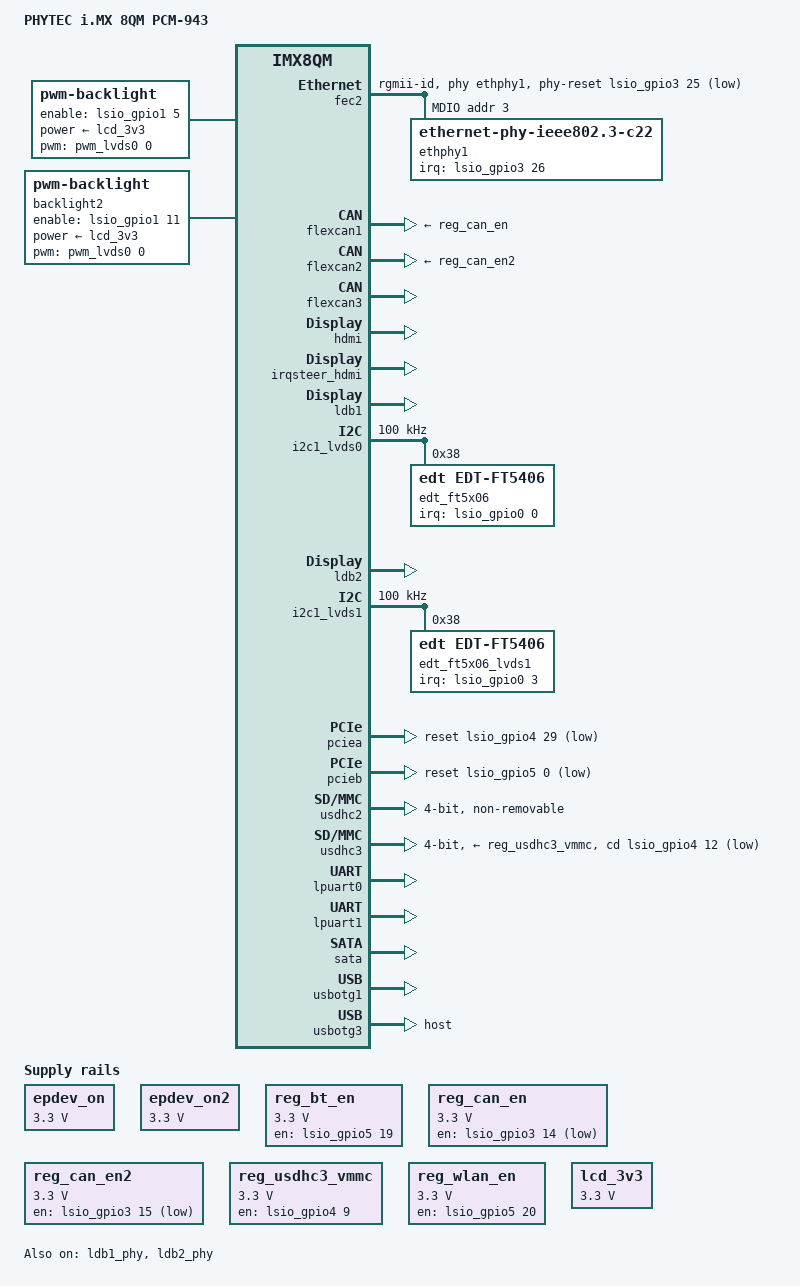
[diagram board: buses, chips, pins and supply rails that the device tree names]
// SPDX-License-Identifier: GPL-2.0
/*
 * Copyright (C) 2017 PHYTEC Messtechnik GmbH
 * Author: Christian Hemp <c.hemp@phytec.de>
 */

/ {
	model = "PHYTEC i.MX 8QM PCM-943";
	compatible = "phytec,imx8qm-pcm-943", "phytec,imx8qm-pcm064",
		     "fsl,imx8qm";

	chosen {
		bootargs = "console=ttyLP0,115200 earlycon=lpuart32,0x5a060000,115200";
		stdout-path = &lpuart0;
	};

	backlight: backlight {
		compatible = "pwm-backlight";
		pinctrl-names = "default";
		pinctrl-0 = <&pinctrl_lcd>;
		default-brightness-level = <7>;
		power-supply = <&lcd_3v3>;
		pwms = <&pwm_lvds0 0 5000000>;
		enable-gpios = <&lsio_gpio1 5 GPIO_ACTIVE_HIGH>;
		brightness-levels = <0 4 8 16 32 64 128 255>;
		status = "okay";
	};

	backlight2: backlight2 {
		compatible = "pwm-backlight";
		pinctrl-names = "default";
		pinctrl-0 = <&pinctrl_lcd2>;
		default-brightness-level = <7>;
		power-supply = <&lcd_3v3>;
		pwms = <&pwm_lvds0 0 5000000>;
		enable-gpios = <&lsio_gpio1 11 GPIO_ACTIVE_HIGH>;
		brightness-levels = <0 4 8 16 32 64 128 255>;
		status = "okay";
	};

	regulators {
		compatible = "simple-bus";
		#address-cells = <1>;
		#size-cells = <0>;

		epdev_on: fixedregulator@100 {
			compatible = "regulator-fixed";
			regulator-min-microvolt = <3300000>;
			regulator-max-microvolt = <3300000>;
			regulator-name = "epdev_on";
		};

		epdev_on2: fixedregulator@101 {
			compatible = "regulator-fixed";
			regulator-min-microvolt = <3300000>;
			regulator-max-microvolt = <3300000>;
			regulator-name = "epdev_on2";
		};

		reg_bt_en: bt_en {
			compatible = "regulator-fixed";
			regulator-name = "bt_en";
			regulator-min-microvolt = <3300000>;
			regulator-max-microvolt = <3300000>;
			gpio = <&lsio_gpio5 19 GPIO_ACTIVE_HIGH>;
			startup-delay-us = <100>;
			enable-active-high;
			regulator-always-on;
		};

		reg_can_en: regulator-can-gen {
			compatible = "regulator-fixed";
			regulator-name = "can-en";
			regulator-min-microvolt = <3300000>;
			regulator-max-microvolt = <3300000>;
			gpio = <&lsio_gpio3 14 GPIO_ACTIVE_LOW>;
		};

		reg_can_en2: regulator-can-gen2 {
			compatible = "regulator-fixed";
			regulator-name = "can-en2";
			regulator-min-microvolt = <3300000>;
			regulator-max-microvolt = <3300000>;
			gpio = <&lsio_gpio3 15 GPIO_ACTIVE_LOW>;
		};

		reg_usdhc3_vmmc: usdhc3_vmmc {
			compatible = "regulator-fixed";
			regulator-name = "sw-3p3-sd1";
			regulator-min-microvolt = <3300000>;
			regulator-max-microvolt = <3300000>;
			gpio = <&lsio_gpio4 9 GPIO_ACTIVE_HIGH>;
			enable-active-high;
		};

		reg_wlan_en: wlan_en {
			compatible = "regulator-fixed";
			regulator-name = "wlan_en";
			regulator-min-microvolt = <3300000>;
			regulator-max-microvolt = <3300000>;
			gpio = <&lsio_gpio5 20 GPIO_ACTIVE_HIGH>;
			enable-active-high;
			regulator-always-on;
		};

		lcd_3v3: lcd_vcc3v3 {
			compatible = "regulator-fixed";
			regulator-name = "lcd_3v3";
			regulator-min-microvolt = <3300000>;
			regulator-max-microvolt = <3300000>;
		};
	};
};

&fec2 {
	pinctrl-names = "default";
	pinctrl-0 = <&pinctrl_fec2>;
	phy-mode = "rgmii-id";
	phy-handle = <&ethphy1>;
	phy-reset-gpios = <&lsio_gpio3 25 GPIO_ACTIVE_LOW>;
	fsl,magic-packet;
	fsl,mii-exclusive;
	status = "okay";

	mdio@1 {
		#address-cells = <1>;
		#size-cells = <0>;

		ethphy1: ethernet-phy@3 {
			compatible = "ethernet-phy-ieee802.3-c22";
			reg = <3>;
			interrupt-parent = <&lsio_gpio3>;
			interrupts = <26 IRQ_TYPE_EDGE_FALLING>;
			ti,rx-internal-delay = <DP83867_RGMIIDCTL_2_00_NS>;
			ti,tx-internal-delay = <DP83867_RGMIIDCTL_2_00_NS>;
			ti,fifo-depth = <DP83867_PHYCR_FIFO_DEPTH_8_B_NIB>;
			enet-phy-lane-no-swap;
		};
	};
};

&flexcan1 {
	pinctrl-names = "default";
	pinctrl-0 = <&pinctrl_flexcan1>;
	xceiver-supply = <&reg_can_en>;
	status = "okay";
};

&flexcan2 {
	pinctrl-names = "default";
	pinctrl-0 = <&pinctrl_flexcan2>;
	xceiver-supply = <&reg_can_en2>;
	status = "okay";
};

&flexcan3 {
	pinctrl-names = "default";
	pinctrl-0 = <&pinctrl_flexcan3>;
	status = "okay";
};

&hdmi {
	compatible = "fsl,imx8qm-hdmi";
	fsl,cec;
	status = "okay";
};

&irqsteer_hdmi {
	status = "okay";
};

&ldb1_phy {
	status = "okay";
};

&ldb1 {
	status = "okay";

	lvds-channel@0 {
		fsl,data-mapping = "jeida";
		fsl,data-width = <24>;
		status = "okay";

		display-timings {
			native-mode = <&timing1>;
			timing1: ETM0700G0DH6 {
				clock-frequency = <33260000>;
				hactive = <800>;
				vactive = <480>;
				hback-porch = <216>;
				hfront-porch = <40>;
				hsync-len = <128>;
				vback-porch = <35>;
				vfront-porch = <10>;
				vsync-len = <2>;
			};
		};
	};
};

&i2c1_lvds0 {
	#address-cells = <1>;
	#size-cells = <0>;
	pinctrl-names = "default";
	pinctrl-0 = <&pinctrl_lvds0_lpi2c0>;
	clock-frequency = <100000>;
	status = "okay";

	edt_ft5x06: polytouch@38 {
		compatible = "edt,edt-ft5406", "edt,edt-ft5x06";
		pinctrl-names = "default";
		pinctrl-0 = <&pinctrl_edt_ft5x06>;
		reg = <0x38>;
		interrupt-parent = <&lsio_gpio0>;
		interrupts = <0 IRQ_TYPE_LEVEL_LOW>;
		status = "okay";
	};
};

&ldb2_phy {
	status = "okay";
};

&ldb2 {
	status = "okay";

	lvds-channel@0 {
		fsl,data-mapping = "jeida";
		fsl,data-width = <24>;
		status = "okay";

		display-timings {
			native-mode = <&timing0>;
			timing0: ETM0700G0DH6 {
				clock-frequency = <33260000>;
				hactive = <800>;
				vactive = <480>;
				hback-porch = <216>;
				hfront-porch = <40>;
				hsync-len = <128>;
				vback-porch = <35>;
				vfront-porch = <10>;
				vsync-len = <2>;
			};
		};
	};
};

&i2c1_lvds1 {
	#address-cells = <1>;
	#size-cells = <0>;
	pinctrl-names = "default";
	pinctrl-0 = <&pinctrl_lvds1_lpi2c0>;
	clock-frequency = <100000>;
	status = "okay";

	edt_ft5x06_lvds1: polytouch@38 {
		compatible = "edt,edt-ft5406", "edt,edt-ft5x06";
		pinctrl-names = "default";
		pinctrl-0 = <&pinctrl_edt_ft5x06_lvds1>;
		reg = <0x38>;
		interrupt-parent = <&lsio_gpio0>;
		interrupts = <3 IRQ_TYPE_LEVEL_LOW>;
		status = "okay";
	};
};

&pciea{
	ext_osc = <1>;
	pinctrl-names = "default";
	pinctrl-0 = <&pinctrl_pciea>;
	clkreq-gpio = <&lsio_gpio4 27 GPIO_ACTIVE_LOW>;
	reset-gpio = <&lsio_gpio4 29 GPIO_ACTIVE_LOW>;
	epdev_on-supply = <&epdev_on>;
	status = "okay";
};

&pcieb {
	ext_osc = <1>;
	pinctrl-names = "default";
	pinctrl-0 = <&pinctrl_pcieb>;
	clkreq-gpio = <&lsio_gpio4 30 GPIO_ACTIVE_LOW>;
	reset-gpio = <&lsio_gpio5 0 GPIO_ACTIVE_LOW>;
	epdev_on-supply = <&epdev_on2>;
	status = "okay";
};

&usdhc2 {
	pinctrl-names = "default";
	pinctrl-0 = <&pinctrl_usdhc2_wlan>, <&pinctrl_wlan>;
	bus-width = <4>;
	non-removable;
	no-1-8-v;
	status = "okay";
};

&usdhc3 {
	pinctrl-names = "default", "state_100mhz", "state_200mhz";
	pinctrl-0 = <&pinctrl_usdhc3>, <&pinctrl_usdhc3_gpio>;
	pinctrl-1 = <&pinctrl_usdhc3_100mhz>, <&pinctrl_usdhc3_gpio>;
	pinctrl-2 = <&pinctrl_usdhc3_200mhz>, <&pinctrl_usdhc3_gpio>;
	bus-width = <4>;
	cd-gpios = <&lsio_gpio4 12 GPIO_ACTIVE_LOW>;
	vmmc-supply = <&reg_usdhc3_vmmc>;
	no-1-8-v;
	status = "okay";
};

&lpuart0 { /* console */
	pinctrl-names = "default";
	pinctrl-0 = <&pinctrl_lpuart0>;
	status = "okay";
};

&lpuart1 { /* bluetooth */
	pinctrl-names = "default";
	pinctrl-0 = <&pinctrl_lpuart1_bt>;
	uart-has-rtscts;
	fsl,dte-mode;
	status = "okay";
};

&sata {
	pinctrl-0 = <&pinctrl_pciea>;
	clkreq-gpio = <&lsio_gpio4 27 GPIO_ACTIVE_LOW>;
	status = "okay";
};

&usbotg1 {
	pinctrl-names = "default";
	pinctrl-0 = <&pinctrl_usbotg1>;
	srp-disable;
	hnp-disable;
	adp-disable;
	power-polarity-active-high;
	disable-over-current;
	status = "okay";
};

&usbotg3 {
	dr_mode = "host";
	status = "okay";
};

&iomuxc {
	imx8qm-pcm-943 {
		pinctrl_edt_ft5x06: edtft5x06grp {
			fsl,pins = <
				IMX8QM_SIM0_CLK_LSIO_GPIO0_IO00		0x00000021
			>;
		};

		pinctrl_edt_ft5x06_lvds1: edtft5x06lvds1grp {
			fsl,pins = <
				IMX8QM_SIM0_PD_LSIO_GPIO0_IO03		0x00000021
			>;
		};

		pinctrl_fec2: fec2grp {
			fsl,pins = <
				IMX8QM_ENET1_MDC_CONN_ENET1_MDC			0x06000020
				IMX8QM_ENET1_MDIO_CONN_ENET1_MDIO			0x06000020
				IMX8QM_ENET1_RGMII_TX_CTL_CONN_ENET1_RGMII_TX_CTL	0x06000020
				IMX8QM_ENET1_RGMII_TXC_CONN_ENET1_RGMII_TXC	0x06000020
				IMX8QM_ENET1_RGMII_TXD0_CONN_ENET1_RGMII_TXD0	0x06000020
				IMX8QM_ENET1_RGMII_TXD1_CONN_ENET1_RGMII_TXD1	0x06000020
				IMX8QM_ENET1_RGMII_TXD2_CONN_ENET1_RGMII_TXD2	0x06000020
				IMX8QM_ENET1_RGMII_TXD3_CONN_ENET1_RGMII_TXD3	0x06000020
				IMX8QM_ENET1_RGMII_RXC_CONN_ENET1_RGMII_RXC	0x06000020
				IMX8QM_ENET1_RGMII_RX_CTL_CONN_ENET1_RGMII_RX_CTL	0x06000020
				IMX8QM_ENET1_RGMII_RXD0_CONN_ENET1_RGMII_RXD0	0x06000060
				IMX8QM_ENET1_RGMII_RXD1_CONN_ENET1_RGMII_RXD1	0x06000060
				IMX8QM_ENET1_RGMII_RXD2_CONN_ENET1_RGMII_RXD2	0x06000060
				IMX8QM_ENET1_RGMII_RXD3_CONN_ENET1_RGMII_RXD3	0x06000060
				IMX8QM_MLB_SIG_LSIO_GPIO3_IO26			0x00000021
				IMX8QM_ADC_IN7_LSIO_GPIO3_IO25			0x00000021
			>;
		};

		pinctrl_lcd: lcd0grp{
			fsl,pins = <
				IMX8QM_LVDS0_GPIO01_LSIO_GPIO1_IO05	0x00000021
				IMX8QM_LVDS0_GPIO00_LVDS0_PWM0_OUT	0x06000020
			>;
		};

		pinctrl_lcd2: lcd2grp{
			fsl,pins = <
				IMX8QM_LVDS1_GPIO01_LSIO_GPIO1_IO11	0x00000021
				IMX8QM_LVDS1_GPIO00_LVDS1_PWM0_OUT	0x06000020
			>;
		};

		pintctrl_i2c2: i2c2grp {
			fsl,pins = <
				IMX8QM_GPT1_CLK_DMA_I2C2_SCL		0xc600004c
				IMX8QM_GPT1_CAPTURE_DMA_I2C2_SDA		0xc600004c
			>;
		};

		pinctrl_flexcan1: flexcan0grp {
			fsl,pins = <
				IMX8QM_FLEXCAN0_TX_DMA_FLEXCAN0_TX	0x21
				IMX8QM_FLEXCAN0_RX_DMA_FLEXCAN0_RX	0x21
				IMX8QM_SAI1_RXFS_LSIO_GPIO3_IO14		0x21
			>;
		};

		pinctrl_flexcan2: flexcan1grp {
			fsl,pins = <
				IMX8QM_FLEXCAN1_TX_DMA_FLEXCAN1_TX	0x21
				IMX8QM_FLEXCAN1_RX_DMA_FLEXCAN1_RX	0x21
				IMX8QM_SAI1_TXC_LSIO_GPIO3_IO15		0x21
			>;
		};

		pinctrl_flexcan3: flexcan2grp {
			fsl,pins = <
				IMX8QM_FLEXCAN2_TX_DMA_FLEXCAN2_TX	0x21
				IMX8QM_FLEXCAN2_RX_DMA_FLEXCAN2_RX	0x21
			>;
		};
		pinctrl_lpuart0: lpuart0grp {
			fsl,pins = <
				IMX8QM_UART0_RX_DMA_UART0_RX		0x06000020
				IMX8QM_UART0_TX_DMA_UART0_TX		0x06000020
			>;
		};

		pinctrl_lpuart1_bt: lpuart1grp_bt  {
			fsl,pins = <
				IMX8QM_UART1_RTS_B_DMA_UART1_RTS_B	0x06000020
				IMX8QM_UART1_CTS_B_DMA_UART1_CTS_B	0x06000020
				IMX8QM_UART1_RX_DMA_UART1_RX		0x06000020
				IMX8QM_UART1_TX_DMA_UART1_TX		0x06000020
			>;
		};

		pinctrl_lvds0_lpi2c0: lvds0lpi2c0grp {
			fsl,pins = <
				IMX8QM_LVDS0_I2C0_SCL_LVDS0_I2C0_SCL	0xc600004c
				IMX8QM_LVDS0_I2C0_SDA_LVDS0_I2C0_SDA	0xc600004c
			>;
		};

		pinctrl_lvds1_lpi2c0: lvds1lpi2c0grp {
			fsl,pins = <
				IMX8QM_LVDS1_I2C0_SCL_LVDS1_I2C0_SCL	0xc600004c
				IMX8QM_LVDS1_I2C0_SDA_LVDS1_I2C0_SDA	0xc600004c
			>;
		};

		pinctrl_pciea: pcieagrp{
			fsl,pins = <
				IMX8QM_PCIE_CTRL0_WAKE_B_LSIO_GPIO4_IO28	0x04000021
				IMX8QM_PCIE_CTRL0_PERST_B_LSIO_GPIO4_IO29	0x06000021
				IMX8QM_PCIE_CTRL0_CLKREQ_B_LSIO_GPIO4_IO27 0x06000021
			>;
		};

		pinctrl_pcieb: pciebgrp{
			fsl,pins = <
				IMX8QM_PCIE_CTRL1_WAKE_B_LSIO_GPIO4_IO31	0x04000021
				IMX8QM_PCIE_CTRL1_PERST_B_LSIO_GPIO5_IO00	0x06000021
				IMX8QM_PCIE_CTRL1_CLKREQ_B_LSIO_GPIO4_IO30 0x06000021
			>;
		};

		pinctrl_usbotg1: usbotg1 {
			fsl,pins = <
				IMX8QM_USB_SS3_TC0_CONN_USB_OTG1_PWR		0x00000021
			>;
		};

		pinctrl_wlan: wlangrp {
			fsl,pins = <
				IMX8QM_USDHC1_DATA5_LSIO_GPIO5_IO20	0x00000021
			>;
		};

		pinctrl_usdhc2_wlan: usdhc2wlangrp {
			fsl,pins = <
				IMX8QM_USDHC1_CLK_CONN_USDHC1_CLK		0x06000041
				IMX8QM_USDHC1_CMD_CONN_USDHC1_CMD		0x00000021
				IMX8QM_USDHC1_DATA0_CONN_USDHC1_DATA0	0x00000021
				IMX8QM_USDHC1_DATA1_CONN_USDHC1_DATA1	0x00000021
				IMX8QM_USDHC1_DATA2_CONN_USDHC1_DATA2	0x00000021
				IMX8QM_USDHC1_DATA3_CONN_USDHC1_DATA3	0x00000021
				IMX8QM_USDHC1_VSELECT_CONN_USDHC1_VSELECT 0x00000021
			>;
		};

		pinctrl_usdhc3_gpio: usdhc3grpgpio {
			fsl,pins = <
				IMX8QM_USDHC2_CD_B_LSIO_GPIO4_IO12	0x00000021
				IMX8QM_USDHC2_RESET_B_LSIO_GPIO4_IO09	0x00000021
			>;
		};

		pinctrl_usdhc3: usdhc3grp {
			fsl,pins = <
				IMX8QM_USDHC2_CLK_CONN_USDHC2_CLK		0x06000041
				IMX8QM_USDHC2_CMD_CONN_USDHC2_CMD		0x00000021
				IMX8QM_USDHC2_DATA0_CONN_USDHC2_DATA0	0x00000021
				IMX8QM_USDHC2_DATA1_CONN_USDHC2_DATA1	0x00000021
				IMX8QM_USDHC2_DATA2_CONN_USDHC2_DATA2	0x00000021
				IMX8QM_USDHC2_DATA3_CONN_USDHC2_DATA3	0x00000021
				IMX8QM_USDHC2_VSELECT_CONN_USDHC2_VSELECT	0x00000021
			>;
		};

		pinctrl_usdhc3_100mhz: usdhc3grp100mhz {
			fsl,pins = <
				IMX8QM_USDHC2_CLK_CONN_USDHC2_CLK		0x06000040
				IMX8QM_USDHC2_CMD_CONN_USDHC2_CMD		0x00000020
				IMX8QM_USDHC2_DATA0_CONN_USDHC2_DATA0	0x00000020
				IMX8QM_USDHC2_DATA1_CONN_USDHC2_DATA1	0x00000020
				IMX8QM_USDHC2_DATA2_CONN_USDHC2_DATA2	0x00000020
				IMX8QM_USDHC2_DATA3_CONN_USDHC2_DATA3	0x00000020
				IMX8QM_USDHC2_VSELECT_CONN_USDHC2_VSELECT	0x00000020
			>;
		};

		pinctrl_usdhc3_200mhz: usdhc3grp200mhz {
			fsl,pins = <
				IMX8QM_USDHC2_CLK_CONN_USDHC2_CLK		0x06000040
				IMX8QM_USDHC2_CMD_CONN_USDHC2_CMD		0x00000020
				IMX8QM_USDHC2_DATA0_CONN_USDHC2_DATA0	0x00000020
				IMX8QM_USDHC2_DATA1_CONN_USDHC2_DATA1	0x00000020
				IMX8QM_USDHC2_DATA2_CONN_USDHC2_DATA2	0x00000020
				IMX8QM_USDHC2_DATA3_CONN_USDHC2_DATA3	0x00000020
				IMX8QM_USDHC2_VSELECT_CONN_USDHC2_VSELECT	0x00000020
			>;
		};
	};
};
